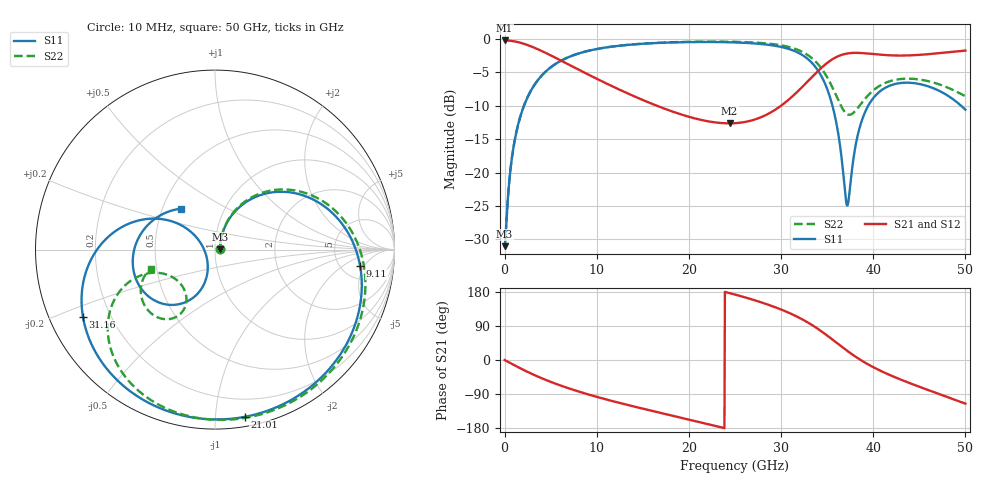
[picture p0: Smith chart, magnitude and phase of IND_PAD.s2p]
! AWR Design Environment (6079) Mon Jan 19 09:55:49 2015
! Simulator:
! Ports: 2, Freqs: 1001
# GHz S RI R 50
!Freq  ReS11  ImS11  ReS21  ImS21  ReS12  ImS12  ReS22  ImS22
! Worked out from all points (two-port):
!   1001 points, 10 MHz to 50 GHz, reference 50 ohm
!   highest |S21| = -0.25 dB at 10 MHz (marker M1); lowest = -12.6 dB at 24.41 GHz (marker M2)
!   |S21| within 3 dB of the highest: start of sweep to 6.116 GHz; 35.36 GHz to end of sweep
!   lowest |S11| = -31.0 dB at 10 MHz (marker M3), VSWR 1.06, Z = 52.9 + j0.163 ohm
!   |S11| at or under -10 dB: start of sweep to 2.113 GHz; 35.58 GHz to 39.46 GHz (3.883 GHz wide, 10.4 % of centre); 49.53 GHz to end of sweep
!   |S22| runs from -31.0 to -0.4 dB; largest |S21 - S12| = 0
!   S11 on the Smith chart (normalised r, x): 10 MHz: 1.06, +0.00; 9.11 GHz: 7.53, -4.04; 21.01 GHz: 0.07, -1.19; 31.16 GHz: 0.10, -0.24; 50 GHz: 0.62, +0.31
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0.01  0.0281 0.00154  0.9718 -0.00223  0.9718 -0.00223  0.0281 0.00154
0.91  0.058 0.133  0.9405 -0.1965  0.9405 -0.1965  0.0568 0.1335
2.26  0.1908 0.2759  0.7998 -0.4345  0.7998 -0.4345  0.1849 0.2799
4.81  0.5211 0.2908  0.4297 -0.6315  0.4297 -0.6315  0.5073 0.3142
8.36  0.7886 -0.0116  0.0445 -0.5712  0.0445 -0.5712  0.7871 0.0512
9.11  0.8084 -0.0906  -0.00945 -0.5393  -0.00945 -0.5393  0.8134 -0.02
12.56  0.7722 -0.4407  -0.1669 -0.3788  -0.1669 -0.3788  0.8208 -0.344
16.71  0.5355 -0.7623  -0.233 -0.208  -0.233 -0.208  0.6561 -0.6646
21.01  0.1646 -0.932  -0.2392 -0.0742  -0.2392 -0.0742  0.3657 -0.8785
24.41  -0.1726 -0.926  -0.2329 0.0139  -0.2329 0.0139  0.0829 -0.9473
25.01  -0.2334 -0.9098  -0.2321 0.0299  -0.2321 0.0299  0.0295 -0.9487
28.26  -0.5489 -0.7236  -0.2287 0.1384  -0.2287 0.1384  -0.2703 -0.8854
31.16  -0.7359 -0.3735  -0.19 0.3144  -0.19 0.3144  -0.5193 -0.6819
33.36  -0.6599 -0.00368  -0.0212 0.5176  -0.0212 0.5176  -0.5955 -0.3971
35.61  -0.2631 0.1637  0.4214 0.5662  0.4214 0.5662  -0.4039 -0.1404
36.26  -0.1487 0.1105  0.5612 0.4891  0.5612 0.4891  -0.316 -0.1296
37.16  -0.0547 -0.0151  0.7063 0.3216  0.7063 0.3216  -0.2167 -0.1669
38.16  -0.0494 -0.1618  0.7786 0.1022  0.7786 0.1022  -0.1635 -0.2446
38.91  -0.0951 -0.2435  0.7792 -0.0546  0.7792 -0.0546  -0.1617 -0.302
41.71  -0.3457 -0.2783  0.5877 -0.4706  0.5877 -0.4706  -0.2825 -0.3872
45.51  -0.4508 -0.00234  0.1948 -0.7374  0.1948 -0.7374  -0.4083 -0.2702
50  -0.187 0.2282  -0.3473 -0.7387  -0.3473 -0.7387  -0.3563 -0.1067
